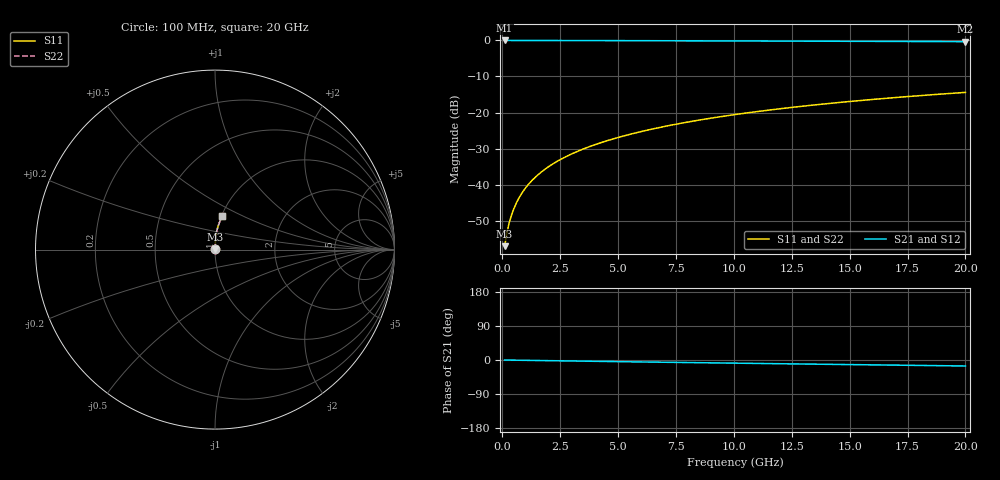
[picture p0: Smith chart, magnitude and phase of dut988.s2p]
! Touchstone file exported from HFSS 2024.1.0
!  File:  C:/UserFiles/LocalFiles/RDL_TSV_Batchsim/temp_RDL_bottom_988_1779943768.aedt
!  Generated:  12:52:01 PM May 28, 2026
!  Design:  RDL_bottom
!  Project:  temp_RDL_bottom_988_1779943768
!  Setup:  Setup1
!  Solution:  Sweep
! Variables:
!  dtsv = 10.80580581um
!  hbump = 3um
!  htsv = 58.85um
!  ldown = 179.95um
!  lrdl = 100um
!  p = 40
!  p1 = 50.81um
!  rhole = 1um
!  t = 450um
!  tdown = 3.96um
!  trdl = 3.915915916um
!  wdown = 18.55um
!  wrdl = 20um
# GHz S MA R 50.000000
! Terminal data exported
! Port[1] = RDL1_T1
! Port[2] = RDL1_T2
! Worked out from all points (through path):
!   200 points, 100 MHz to 20 GHz, reference 50 ohm
!   highest |S21| = -0.01 dB at 100 MHz (marker M1); lowest = -0.3 dB at 20 GHz (marker M2)
!   group delay of S21, straight-line fit = 2.18 ps
!   lowest |S11| = -57.1 dB at 100 MHz (marker M3), VSWR 1.00, Z = 50.1 + j0.0937 ohm
!   |S11| at or under -10 dB: start of sweep to end of sweep
!   |S22| runs from -57.1 to -14.4 dB; largest |S21 - S12| = 4.1e-15
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0.1  0.001401 41.9  0.999 -0.1  0.999 -0.1  0.001401 41.9
! Gamma 0 0 0 0
! Port Impedance 50 0 50 0
0.2  0.002142 59.7  0.9989 -0.2  0.9989 -0.2  0.002142 59.7
0.3  0.002961 67.8  0.9989 -0.3  0.9989 -0.3  0.002961 67.8
0.4  0.003799 72.4  0.9988 -0.4  0.9988 -0.4  0.003799 72.4
0.5  0.004646 75.4  0.9988 -0.5  0.9988 -0.5  0.004646 75.4
0.6  0.0055 77.6  0.9987 -0.5  0.9987 -0.5  0.0055 77.6
0.8  0.007221 80.4  0.9986 -0.7  0.9986 -0.7  0.007221 80.4
1.1  0.009828 82.8  0.9985 -1.0  0.9985 -1.0  0.009828 82.8
1.5  0.01334 84.6  0.9982 -1.3  0.9982 -1.3  0.01334 84.6
1.8  0.01598 85.5  0.998 -1.6  0.998 -1.6  0.01598 85.5
2.1  0.01864 86.1  0.9977 -1.9  0.9977 -1.9  0.01864 86.1
2.7  0.024 86.8  0.997 -2.4  0.997 -2.4  0.024 86.8
3.5  0.03123 87.3  0.9959 -3.1  0.9959 -3.1  0.03123 87.3
4.2  0.03764 87.5  0.9948 -3.7  0.9948 -3.7  0.03764 87.5
5  0.04507 87.6  0.9935 -4.3  0.9935 -4.3  0.04507 87.6
5.9  0.05354 87.4  0.9918 -5.1  0.9918 -5.1  0.05354 87.4
6.8  0.06212 87.1  0.99 -5.8  0.99 -5.8  0.06212 87.1
8.3  0.07662 86.4  0.987 -7.0  0.987 -7.0  0.07662 86.4
10.1  0.09422 85.3  0.9832 -8.4  0.9832 -8.4  0.09422 85.3
13.4  0.1266 82.8  0.9762 -10.9  0.9762 -10.9  0.1266 82.8
16.7  0.1587 80.2  0.9691 -13.4  0.9691 -13.4  0.1587 80.2
20  0.1902 77.5  0.9615 -15.8  0.9615 -15.8  0.1902 77.5
